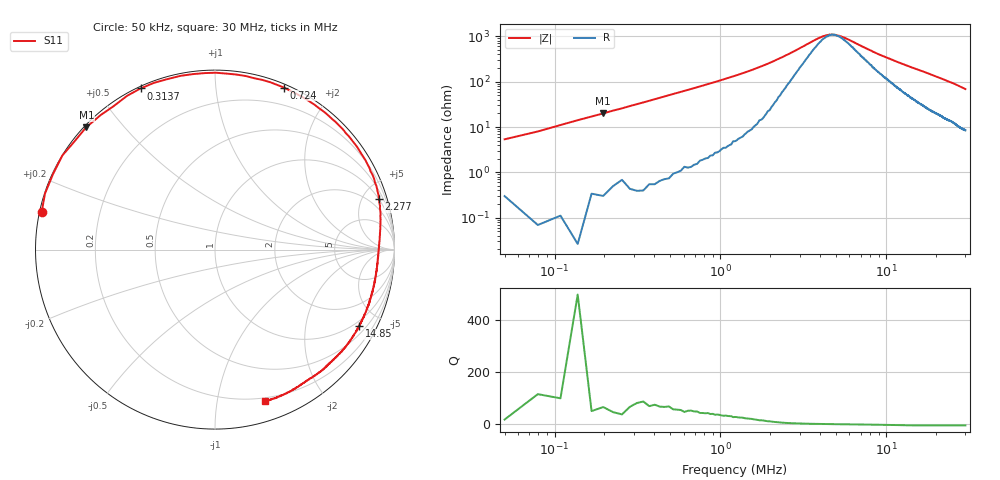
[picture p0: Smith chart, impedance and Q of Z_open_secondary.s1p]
# HZ S RI R 50
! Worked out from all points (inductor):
!   1023 points, 50 kHz to 30 MHz, reference 50 ohm
!   read as one part to ground: L = 16.2 uH near 196.5 kHz
!   highest Q = 67.7 at 196.5 kHz (marker M1), where L = 16.2 uH
!   self-resonance near 4.816 MHz
!   S11 on the Smith chart (normalised r, x): 50 kHz: 0.01, +0.11; 313.7 kHz: 0.01, +0.64; 724 kHz: 0.03, +1.51; 2.277 MHz: 0.98, +6.52; 14.85 MHz: 0.79, -3.85; 30 MHz: 0.17, -1.37
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50000  -0.9657 0.2095
137915  -0.8501 0.5248
196525  -0.7168 0.6823
255135  -0.5654 0.7987
313745  -0.4148 0.8977
401660  -0.1914 0.9683
489575  0.00589 0.9854
606795  0.2185 0.9548
724015  0.3844 0.9029
841235  0.5082 0.8382
958455  0.6017 0.7722
1104980  0.6891 0.6938
1280810  0.763 0.6091
1485945  0.8237 0.5216
1720385  0.8667 0.4359
1954825  0.8957 0.3632
2277180  0.9148 0.2811
2951195  0.9225 0.1654
3801040  0.9175 0.0745
5295595  0.9091 -0.0283
7552080  0.8959 -0.1404
1.130312e7  0.8593 -0.2972
1.484902e7  0.8019 -0.4271
1.502486e7  0.7988 -0.4351
1.87759e7  0.7098 -0.5602
2.252694e7  0.5929 -0.6757
2.627798e7  0.4526 -0.7685
2.999971e7  0.2787 -0.8444
